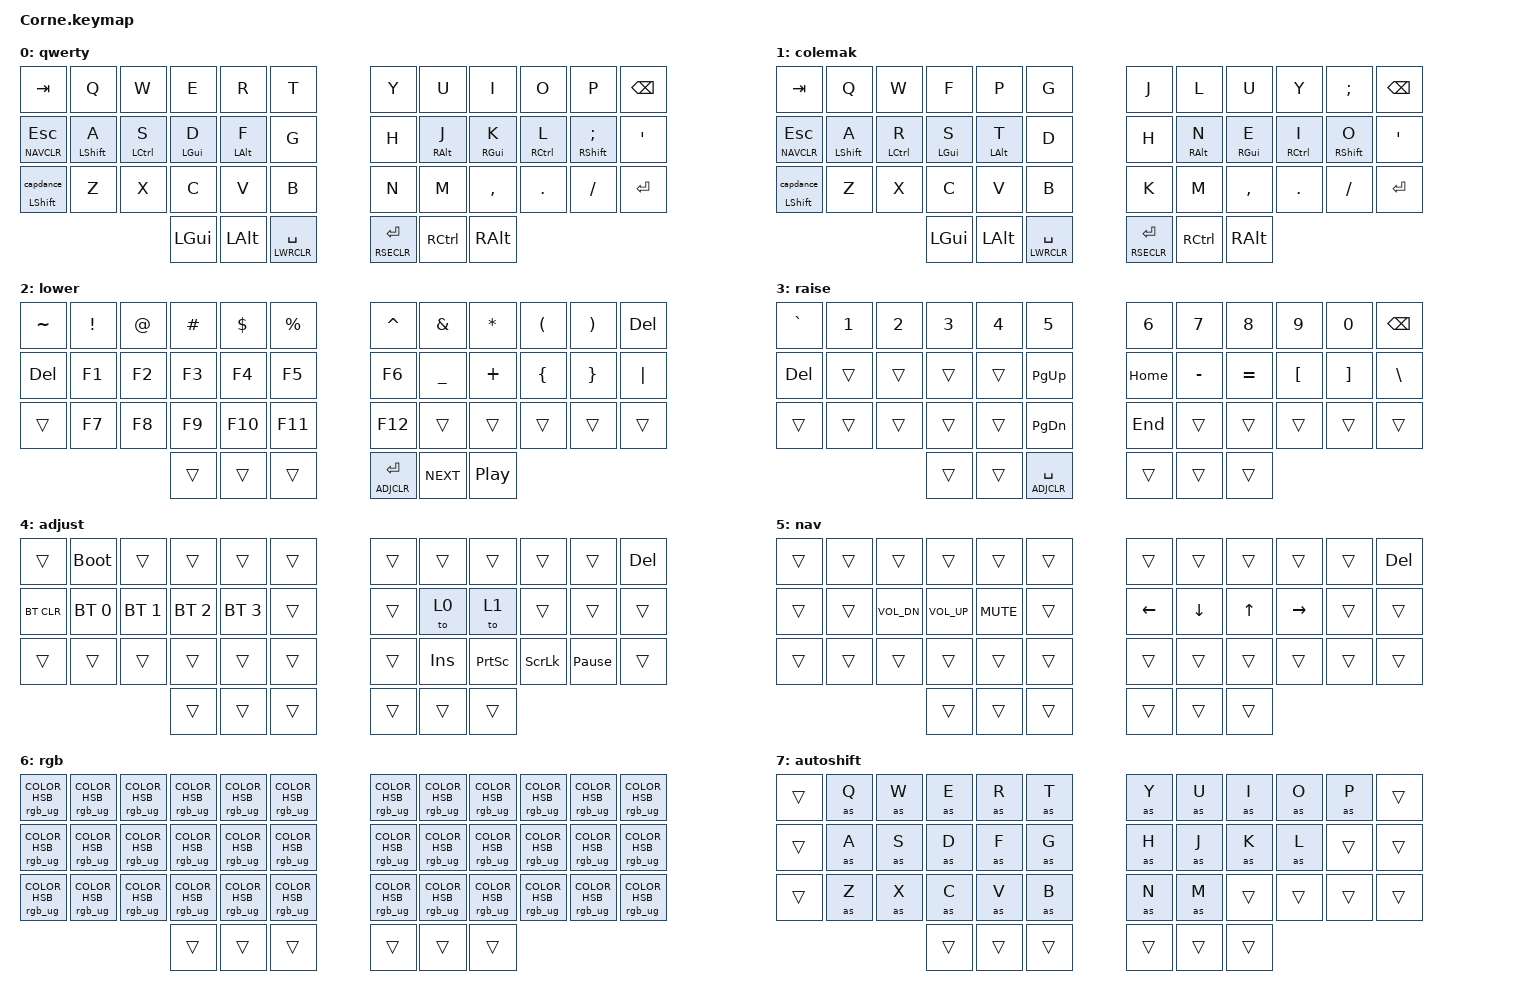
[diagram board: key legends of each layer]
/*
* Copyright (c) 2020 The ZMK Contributors
*
* SPDX-License-Identifier: MIT
*/

#include <behaviors.dtsi>
#include <dt-bindings/zmk/keys.h>
#include <dt-bindings/zmk/bt.h>
#include <dt-bindings/zmk/rgb.h>

#define LWRCLR RGB_COLOR_HSB_VAL(80,70,50)   // #648026
#define RSECLR RGB_COLOR_HSB_VAL(180,70,50)  // #268080
#define NAVCLR RGB_COLOR_HSB_VAL(220,60,40)  // #293D66
#define ADJCLR RGB_COLOR_HSB_VAL(360,80,40)  // #661414

// dt-formatter: indent = "    "
// dt-formatter: multilineIntegerCellsIndent = "reindent"
// dt-formatter: multilineListCommaStyle = "leading"

// Sticky modifiers must be released before another sticky modifier can be chained.
&sk {
    /delete-property/ ignore-modifiers;
};

/ {
    combos {
        compatible = "zmk,combos";

        // W+E sends Tab.
        tab {
            key-positions = <2 3>;
            bindings = <&kp TAB>;
        };

        // X+C sends Left Ctrl.
        ctrl {
            key-positions = <26 27>;
            bindings = <&kp LCTRL>;
        };

        // Left inner thumb pair sends Left GUI.
        cmd {
            key-positions = <37 38>;
            bindings = <&kp LGUI>;
        };

        // Right inner thumb pair sends Left Alt.
        alt {
            key-positions = <39 40>;
            bindings = <&kp LEFT_ALT>;
        };

        // I+O sends Left Shift.
        shift {
            key-positions = <8 9>;
            bindings = <&kp LSHIFT>;
        };

        // G+H enables Caps Word.
        // Capitalizes the next word typed, then disables itself.
        caps_word {
            key-positions = <17 18>;
            bindings = <&caps_word>;
        };

        // Comma+Period sends Delete.
        delete {
            key-positions = <32 33>;
            bindings = <&kp DEL>;
        };
    };

    macros {
        // Hold the requested layer, set its requested RGB color, then toggle underglow on release.
        rgblayer: rgb_layer {
            compatible = "zmk,behavior-macro-two-param";
            #binding-cells = <2>;
            label = "MOMENTARY_LAYER_WITH_RGB_COLOR";
            wait-ms = <0>;
            tap-ms = <0>;
            bindings
                // Macro argument 2 sent to next macro binding's first parameter
                // Ex. &rgblayer LWRCLR 2, Layer value 2 sent to next binding first parameter
                = <&macro_param_2to1>
                // Macro presses/holds $mo [layer], &mo 2
                , <&macro_press &mo MACRO_PLACEHOLDER>
                // Macro argument 1 sent to next macro binding's first parameter
                , <&macro_param_1to2>
                // Macro taps underglow, first param is RGB_COLOR_HSB_CMD,
                //second param is the color value from the keymap binding, variable LWRCLR
                , <&macro_tap &rgb_ug RGB_COLOR_HSB_CMD MACRO_PLACEHOLDER>
                // Macro pauses until the key is released, holding layer (not &rgb_ug)
                , <&macro_pause_for_release>
                // Macro argument 1 sent to next macro binding's first parameter
                , <&macro_param_2to1>
                // Macro releases the layer
                , <&macro_release &mo MACRO_PLACEHOLDER>
                // Macro taps underglow toggling it off
                , <&macro_tap &rgb_ug RGB_TOG>
                ;
        };

        // Hold layer 2 and set the keymap-supplied RGB color; toggle underglow on release.
        lower_rgb: lower_rgb {
            compatible = "zmk,behavior-macro-one-param";
            #binding-cells = <1>;
            label = "LOWER_LAYER_WITH_RGB";
            wait-ms = <0>;
            tap-ms = <0>;
            bindings
                = <&macro_param_1to2>
                , <&macro_tap &rgb_ug RGB_COLOR_HSB_CMD MACRO_PLACEHOLDER>
                , <&macro_press &mo 2>
                , <&macro_pause_for_release>
                , <&macro_release &mo 2>
                , <&macro_tap &rgb_ug RGB_TOG>
                ;
        };

        // Hold layer 3 and set the keymap-supplied RGB color; toggle underglow on release.
        raise_rgb: raise_rgb {
            compatible = "zmk,behavior-macro-one-param";
            #binding-cells = <1>;
            label = "RAISE_LAYER_WITH_RGB";
            wait-ms = <0>;
            tap-ms = <0>;
            bindings
                = <&macro_param_1to2>
                , <&macro_tap &rgb_ug RGB_COLOR_HSB_CMD MACRO_PLACEHOLDER>
                , <&macro_press &mo 3>
                , <&macro_pause_for_release>
                , <&macro_release &mo 3>
                , <&macro_tap &rgb_ug RGB_TOG>
                ;
        };

        // Hold layer 5 and set the keymap-supplied RGB color; toggle underglow on release.
        nav_rgb: nav_rgb {
            compatible = "zmk,behavior-macro-one-param";
            #binding-cells = <1>;
            label = "NAV_LAYER_WITH_RGB";
            wait-ms = <0>;
            tap-ms = <0>;
            bindings
                = <&macro_param_1to2>
                , <&macro_tap &rgb_ug RGB_COLOR_HSB_CMD MACRO_PLACEHOLDER>
                , <&macro_press &mo 5>
                , <&macro_pause_for_release>
                , <&macro_release &mo 5>
                , <&macro_tap &rgb_ug RGB_TOG>
                ;
        };

        // Apply Left Shift to the key passed to this macro.
        shift: with_lshift {
            compatible = "zmk,behavior-macro-one-param";
            #binding-cells = <1>;
            label = "KEY_PRESS_WITH_LEFT_SHIFT_MODIFIER";
            bindings
                = <&macro_press>
                , <&kp LSHFT>
                , <&macro_tap>
                , <&macro_param_1to1 &kp MACRO_PLACEHOLDER>
                , <&macro_release>
                , <&kp LSHFT>
                ;
        };

        // &as binding, Behavior chain $as -> $as_ht -> $shift
        // Run the autoshift hold-tap for the passed key until it is released.
        as: autoshift {
            compatible = "zmk,behavior-macro-one-param";
            #binding-cells = <1>;
            label = "AUTOSHIFT_KEYPRESS";
            bindings
                = <&macro_press>
                , <&macro_param_1to1 &macro_param_1to2 &as_ht MACRO_PLACEHOLDER MACRO_PLACEHOLDER>
                , <&macro_pause_for_release>
                , <&macro_release>
                , <&macro_param_1to1 &macro_param_1to2 &as_ht MACRO_PLACEHOLDER MACRO_PLACEHOLDER>
                ;
        };
    };

    behaviors {
        // Tap sends the key; holding past the tapping term applies Shift.
        as_ht: autoshift_hold_tap {
            compatible = "zmk,behavior-hold-tap";
            #binding-cells = <2>;
            label = "AUTOSHIFT_HOLD_TAP";
            bindings = <&shift>, <&kp>;

            tapping-term-ms = <190>;
        };

        // Hold runs the layer/color macro; tap sends the key specified at the keymap binding.
        // Example: &lrgbt RGB_COLOR_HSB_VAL(240,100,100) SPACE
        lrgbt: lower_rgb_tap {
            compatible = "zmk,behavior-hold-tap";
            #binding-cells = <2>;
            label = "LOWER_LAYER_OR_TAP";
            flavor = "tap-preferred";
            tapping-term-ms = <200>;
            bindings = <&lower_rgb>, <&kp>;
        };

        // Hold Raise with the requested color; tap sends the key supplied at the keymap binding.
        rrgbt: raise_rgb_tap {
            compatible = "zmk,behavior-hold-tap";
            #binding-cells = <2>;
            label = "RAISE_LAYER_OR_TAP";
            flavor = "tap-preferred";
            tapping-term-ms = <200>;
            bindings = <&raise_rgb>, <&kp>;
        };

        // Hold Nav with the requested color; tap sends the key supplied at the keymap binding.
        nrgbt: nav_rgb_tap {
            compatible = "zmk,behavior-hold-tap";
            #binding-cells = <2>;
            label = "NAV_LAYER_OR_TAP";
            flavor = "tap-preferred";
            tapping-term-ms = <200>;
            bindings = <&nav_rgb>, <&kp>;
        };

        // Hold with the modifier; tap the key. Opposite-hand presses can trigger the hold early.
        hml: homewrow_mods_left {
            compatible = "zmk,behavior-hold-tap";
            #binding-cells = <2>;
            label = "HOMEROW_MODS_LEFT_HAND";
            bindings = <&kp>, <&kp>;
            tapping-term-ms = <200>;

            hold-trigger-key-positions = <6 7 8 9 10 11 18 19 20 21 22 23 30 31 32 33 34 35 39 40 41>;
        };

        // Hold with the modifier; tap the key. Opposite-hand presses can trigger the hold early.
        hmr: homewrow_mods_right {
            compatible = "zmk,behavior-hold-tap";
            #binding-cells = <2>;
            label = "HOMEROW_MODS_RIGHT_HAND";
            bindings = <&kp>, <&kp>;
            tapping-term-ms = <200>;

            hold-trigger-key-positions = <0 1 2 3 4 5 12 13 14 15 16 17 24 25 26 27 28 29 36 37 38>;
        };

        // One tap applies sticky Shift; a double tap sends Caps Lock.
        capdance: capdance {
            compatible = "zmk,behavior-tap-dance";
            label = "CAPDANCE";
            #binding-cells = <0>;
            tapping-term-ms = <200>;
            bindings = <&sk LSHFT>, <&kp CAPS>;
        };

        // Hold sends Shift; tapping delegates to capdance for sticky Shift or Caps Lock.
        shift_caps: shift_caps {
            compatible = "zmk,behavior-hold-tap";
            #binding-cells = <2>;
            label = "SHIFT_STICKY_OR_CAPS_LOCK";
            flavor = "hold-preferred";
            tapping-term-ms = <200>;
            bindings = <&kp>, <&capdance>;
        };
    };

    conditional_layers {
        compatible = "zmk,conditional-layers";

        // Holding Lower and Raise together activates Adjust.
        tri_layer {
            if-layers = <2 3>;
            then-layer = <4>;
        };
    };

    keymap {
        compatible = "zmk,keymap";

        // QWERTY base layer with home-row mods and an ESC tap / NAV hold key.
        qwerty {
            // -----------------------------------------------------------------------------------------
            // |  TAB |  Q  |  W  |  E  |  R  |  T  |   |  Y  |  U   |  I  |  O  |  P  | BKSP |
            // |ESCNAV|  A  |  S  |  D  |  F  |  G  |   |  H  |  J   |  K  |  L  |  ;  |  '   |
            // | SHFT |  Z  |  X  |  C  |  V  |  B  |   |  N  |  M   |  ,  |  .  |  /  | ENT  |
            //                    | WIN | ALT |SPC/L|   |ENT/R| CTRL | ALT |
            bindings = <
                &kp TAB             &kp Q         &kp W         &kp E        &kp R        &kp T   &kp Y   &kp U        &kp I        &kp O         &kp P            &kp BSPC
                &nrgbt NAVCLR ESC   &hml LSHFT A  &hml LCTRL S  &hml LGUI D  &hml LALT F  &kp G   &kp H   &hmr RALT J  &hmr RGUI K  &hmr RCTRL L  &hmr RSHFT SEMI  &kp SQT
                &shift_caps LSHFT 0 &kp Z         &kp X         &kp C        &kp V        &kp B   &kp N   &kp M        &kp COMMA    &kp DOT       &kp FSLH         &kp RET
                &kp LGUI  &kp LALT  &lrgbt LWRCLR SPACE  &rrgbt RSECLR RET  &kp RCTRL  &kp RALT
            >;
        };

        // Colemak base layer.
        colemak {
            // -----------------------------------------------------------------------------------------
            // |  TAB |  Q  |  W  |  F  |  P  |  G  |   |  J  |  L   |  U  |  Y  |  ;  | BKSP |
            // |ESCNAV|  A  |  R  |  S  |  T  |  D  |   |  H  |  N   |  E  |  I  |  O  |  '   |
            // | SHFT |  Z  |  X  |  C  |  V  |  B  |   |  K  |  M   |  ,  |  .  |  /  | ENT  |
            //                    | GUI | ALT |SPC/L|   |ENT/R| CTRL | ALT |
            bindings = <
                &kp TAB             &kp Q         &kp W         &kp F        &kp P        &kp G   &kp J   &kp L        &kp U        &kp Y         &kp SEMI       &kp BSPC
                &nrgbt NAVCLR ESC   &hml LSHFT A  &hml LCTRL R  &hml LGUI S  &hml LALT T  &kp D   &kp H   &hmr RALT N  &hmr RGUI E  &hmr RCTRL I  &hmr RSHFT O   &kp SQT
                &shift_caps LSHFT 0 &kp Z         &kp X         &kp C        &kp V        &kp B   &kp K   &kp M        &kp COMMA    &kp DOT       &kp FSLH       &kp RET
                &kp LGUI  &kp LALT  &lrgbt LWRCLR SPACE  &rrgbt RSECLR RET  &kp RCTRL  &kp RALT
            >;
        };

        // Lower: symbols, F-keys, Delete, and media controls; the right inner thumb accesses Raise/Adjust.
        lower {
            // -----------------------------------------------------------------------------------------
            // |  ~  |  !  |  @  |  #  |  $  |  %  |   |  ^  |  &  |  *  |  (  |  )  | DEL  |
            // | DEL | F1  | F2  | F3  | F4  | F5  |   | F6  |  _  |  +  |  {  |  }  | PIPE |
            // |     | F7  | F8  | F9  | F10 | F11 |   | F12 |     |     |     |     |      |
            //                   |     |     |     |   |ENT/R|NEXT |PLAY |
            bindings = <
                &kp TILDE  &kp EXCL  &kp AT  &kp HASH  &kp DLLR  &kp PRCNT  &kp CARET  &kp AMPS   &kp ASTRK  &kp LPAR  &kp RPAR  &kp DEL
                &kp DEL    &kp F1    &kp F2  &kp F3    &kp F4    &kp F5     &kp F6     &kp UNDER  &kp PLUS   &kp LBRC  &kp RBRC  &kp PIPE
                &trans     &kp F7    &kp F8  &kp F9    &kp F10   &kp F11    &kp F12    &trans     &trans     &trans    &trans    &trans
                &trans  &trans  &trans  &rrgbt ADJCLR RET  &kp C_NEXT  &kp C_PP
            >;
        };

        // Raise: numbers, symbols and punctuation.
        raise {
            // -----------------------------------------------------------------------------------------
            // | GRV |  1  |  2  |  3  |  4  |  5  |   |  6  |  7  |  8  |  9  |  0  | BKSP |
            // | DEL |     |     |     |     | PGUP|   | HOME|  -  |  =  |  [  |  ]  |  \   |
            // |     |     |     |     |     | PGDN|   | END |     |     |     |     |      |
            //                   |     |     |SPC/L|   |     |     |     |
            bindings = <
                &kp GRAVE  &kp N1  &kp N2  &kp N3  &kp N4  &kp N5     &kp N6    &kp N7     &kp N8     &kp N9    &kp N0    &kp BSPC
                &kp DEL    &trans  &trans  &trans  &trans  &kp PG_UP  &kp HOME  &kp MINUS  &kp EQUAL  &kp LBKT  &kp RBKT  &kp BSLH
                &trans     &trans  &trans  &trans  &trans  &kp PG_DN  &kp END   &trans     &trans     &trans    &trans    &trans
                &trans  &trans  &lrgbt ADJCLR SPACE  &trans  &trans  &trans
            >;
        };

        // Adjust is active while Lower and Raise are both held.
        adjust {
            // -----------------------------------------------------------------------------------------
            // |      | BOOT|     |     |     |     |   |     |     |     |     |     | DEL  |
            // | BTCLR| BT 0| BT 1| BT 2| BT 3|     |   |     |QWERT|CLMAK|     |     |      |
            // |      |     |     |     |     |     |   |     | INS |PRSCR| SLCK|PAUSE|      |
            //                    |     |     |     |   |     |     |     |
            bindings = <
                &trans      &bootloader   &trans        &trans        &trans        &trans  &trans  &trans   &trans     &trans    &trans           &kp DEL
                &bt BT_CLR  &bt BT_SEL 0  &bt BT_SEL 1  &bt BT_SEL 2  &bt BT_SEL 3  &trans  &trans  &to 0    &to 1      &trans    &trans           &trans
                &trans      &trans        &trans        &trans        &trans        &trans  &trans  &kp INS  &kp PSCRN  &kp SLCK  &kp PAUSE_BREAK  &trans
                &trans  &trans  &trans  &trans  &trans  &trans
            >;
        };

        // NAV: Delete, volume/mute, and arrow keys; holding ESCNAV selects it and shows the NAV color.
        nav {
            // -----------------------------------------------------------------------------------------
            // |     |     |     |     |     |     |   |     |     |     |     |     | DEL |
            // |     |     |VOL- |VOL+ |MUTE |     |   |LEFT |DOWN | UP  |RIGHT|     |     |
            // |     |     |     |     |     |     |   |     |     |     |     |     |     |
            //                   |     |     |     |   |     |     |     |
            bindings = <
                &trans  &trans  &trans        &trans        &trans  &trans  &trans  &trans  &trans  &trans  &trans  &kp DEL
                &trans  &trans  &kp C_VOL_DN  &kp C_VOL_UP  &kp C_MUTE    &trans  &kp LEFT  &kp DOWN  &kp UP  &kp RIGHT   &trans    &trans
                &trans  &trans  &trans        &trans        &trans  &trans  &trans  &trans  &trans  &trans  &trans  &trans
                &trans  &trans  &trans        &trans        &trans  &trans
            >;
        };

        // RGB test palette: hues sweep across columns; each row uses different saturation/brightness.
        rgb {
            bindings = <
                &rgb_ug RGB_COLOR_HSB(0,80,60)  &rgb_ug RGB_COLOR_HSB(20,80,60)  &rgb_ug RGB_COLOR_HSB(40,80,60)     &rgb_ug RGB_COLOR_HSB(60,80,60)   &rgb_ug RGB_COLOR_HSB(80,80,60)   &rgb_ug RGB_COLOR_HSB(100,80,60)    &rgb_ug RGB_COLOR_HSB(120,80,60)  &rgb_ug RGB_COLOR_HSB(140,80,60)  &rgb_ug RGB_COLOR_HSB(160,80,60)  &rgb_ug RGB_COLOR_HSB(180,80,60)  &rgb_ug RGB_COLOR_HSB(200,80,60)  &rgb_ug RGB_COLOR_HSB(220,80,60)
                &rgb_ug RGB_COLOR_HSB(0,60,40)  &rgb_ug RGB_COLOR_HSB(20,60,40)  &rgb_ug RGB_COLOR_HSB(40,60,40)     &rgb_ug RGB_COLOR_HSB(60,60,40)   &rgb_ug RGB_COLOR_HSB(80,60,40)   &rgb_ug RGB_COLOR_HSB(100,60,40)    &rgb_ug RGB_COLOR_HSB(120,60,40)  &rgb_ug RGB_COLOR_HSB(140,60,40)  &rgb_ug RGB_COLOR_HSB(160,60,40)  &rgb_ug RGB_COLOR_HSB(180,60,40)  &rgb_ug RGB_COLOR_HSB(200,60,40)  &rgb_ug RGB_COLOR_HSB(220,60,40)
                &rgb_ug RGB_COLOR_HSB(0,80,30)  &rgb_ug RGB_COLOR_HSB(20,80,30)  &rgb_ug RGB_COLOR_HSB(40,80,30)     &rgb_ug RGB_COLOR_HSB(60,80,30)   &rgb_ug RGB_COLOR_HSB(80,80,30)   &rgb_ug RGB_COLOR_HSB(100,80,30)    &rgb_ug RGB_COLOR_HSB(120,80,30)  &rgb_ug RGB_COLOR_HSB(140,80,30)  &rgb_ug RGB_COLOR_HSB(160,80,30)  &rgb_ug RGB_COLOR_HSB(180,80,30)  &rgb_ug RGB_COLOR_HSB(200,80,30)  &rgb_ug RGB_COLOR_HSB(220,80,30)
                &trans                          &trans                           &trans                              &trans                            &trans                            &trans
            >;
        };

        // Autoshift layer: letters use the autoshift behavior; other keys pass through.
        autoshift {
            bindings = <
                &trans  &as Q   &as W     &as E   &as R   &as T     &as Y   &as U   &as I   &as O   &as P   &trans
                &trans  &as A   &as S     &as D   &as F   &as G     &as H   &as J   &as K   &as L   &trans  &trans
                &trans  &as Z   &as X     &as C   &as V   &as B     &as N   &as M   &trans  &trans  &trans  &trans
                &trans  &trans  &trans    &trans  &trans  &trans
            >;
        };
    };
};
